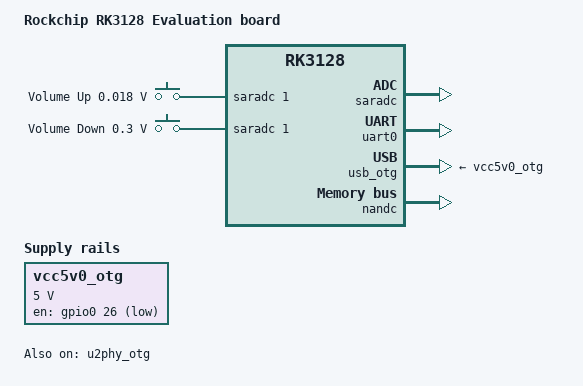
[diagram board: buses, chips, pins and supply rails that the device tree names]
/*
 * (C) Copyright 2017 Rockchip Electronics Co., Ltd
 *
 * SPDX-License-Identifier:     GPL-2.0+
 */

/dts-v1/;

#include <dt-bindings/input/input.h>
#include "rk3128.dtsi"
#include "rk3128-u-boot.dtsi"

/ {
	model = "Rockchip RK3128 Evaluation board";
	compatible = "rockchip,rk3128-evb", "rockchip,rk3128";

	adc-keys {
		compatible = "adc-keys";
		io-channels = <&saradc 1>;
		io-channel-names = "buttons";
		poll-interval = <100>;
		keyup-threshold-microvolt = <1800000>;

		vol-up {
			label = "Volume Up";
			linux,code = <KEY_VOLUMEUP>;
			press-threshold-microvolt = <18000>;
		};

		vol-down {
			label = "Volume Down";
			linux,code = <KEY_VOLUMEDOWN>;
			press-threshold-microvolt = <300000>;
		};
	};

	chosen {
		stdout-path = &uart0;
	};

	vcc5v0_otg: vcc5v0-otg-drv {
		compatible = "regulator-fixed";
		regulator-name = "vcc5v0_otg";
		gpio = <&gpio0 26 GPIO_ACTIVE_HIGH>;
		pinctrl-names = "default";
		pinctrl-0 = <&otg_vbus_drv>;
		regulator-min-microvolt = <5000000>;
		regulator-max-microvolt = <5000000>;
	};

};

&saradc {
	status = "okay";
};

&u2phy_otg {
	status = "okay";
};

&uart0 {
	clock-frequency = <24000000>;
	u-boot,dm-pre-reloc;
	status = "okay";
};

&usb_otg {
	vbus-supply = <&vcc5v0_otg>;
	status = "okay";
};

&emmc {
	fifo-mode;
	status = "disabled";
};

&nandc {
	u-boot,dm-pre-reloc;
	status = "okay";
};

&pinctrl {
	usb_otg {
		otg_vbus_drv: otg-vbus-drv {
			rockchip,pins = <0 26 RK_FUNC_GPIO &pcfg_pull_none>;
		};
	};
};
